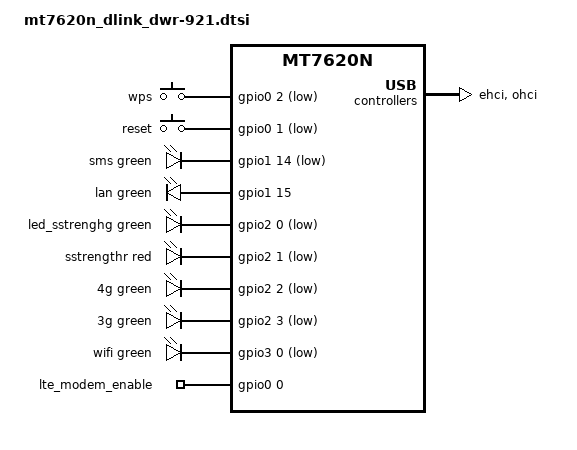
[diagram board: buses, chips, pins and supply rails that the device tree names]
// SPDX-License-Identifier: GPL-2.0-or-later OR MIT

#include "mt7620n.dtsi"

#include <dt-bindings/gpio/gpio.h>
#include <dt-bindings/input/input.h>
#include <dt-bindings/leds/common.h>

/ {
	aliases {
		led-boot = &led_sstrenghg;
		led-failsafe = &led_sstrenghg;
	};

	keys {
		compatible = "gpio-keys";

		wps {
			label = "wps";
			gpios = <&gpio0 2 GPIO_ACTIVE_LOW>;
			linux,code = <KEY_WPS_BUTTON>;
		};

		reset {
			label = "reset";
			gpios = <&gpio0 1 GPIO_ACTIVE_LOW>;
			linux,code = <KEY_RESTART>;
		};
	};

	leds {
		compatible = "gpio-leds";

		sms {
			function = "sms";
			color = <LED_COLOR_ID_GREEN>;
			gpios = <&gpio1 14 GPIO_ACTIVE_LOW>;
		};

		lan {
			function = LED_FUNCTION_LAN;
			color = <LED_COLOR_ID_GREEN>;
			gpios = <&gpio1 15 GPIO_ACTIVE_HIGH>;
		};

		led_sstrenghg: sstrengthg {
			function = "sigstrength";
			color = <LED_COLOR_ID_GREEN>;
			gpios = <&gpio2 0 GPIO_ACTIVE_LOW>;
		};

		sstrengthr {
			function = "sigstrength";
			color = <LED_COLOR_ID_RED>;
			gpios = <&gpio2 1 GPIO_ACTIVE_LOW>;
		};

		4g {
			function = "4g";
			color = <LED_COLOR_ID_GREEN>;
			gpios = <&gpio2 2 GPIO_ACTIVE_LOW>;
		};

		3g {
			function = "3g";
			color = <LED_COLOR_ID_GREEN>;
			gpios = <&gpio2 3 GPIO_ACTIVE_LOW>;
		};

		wifi {
			function = LED_FUNCTION_WLAN;
			color = <LED_COLOR_ID_GREEN>;
			gpios = <&gpio3 0 GPIO_ACTIVE_LOW>;
		};
	};

	gpio_export {
		compatible = "gpio-export";

		lte_modem_enable {
			gpio-export,name = "lte_modem_enable";
			gpio-export,output = <1>;
			gpios = <&gpio0 0 GPIO_ACTIVE_HIGH>;
		};
	};
};

&gpio1 {
	status = "okay";
};

&gpio2 {
	status = "okay";
};

&gpio3 {
	status = "okay";
};

&ehci {
	status = "okay";
};

&ohci {
	status = "okay";
};

&state_default {
	default {
		groups = "spi refclk", "i2c", "ephy", "wled";
		function = "gpio";
	};
};
